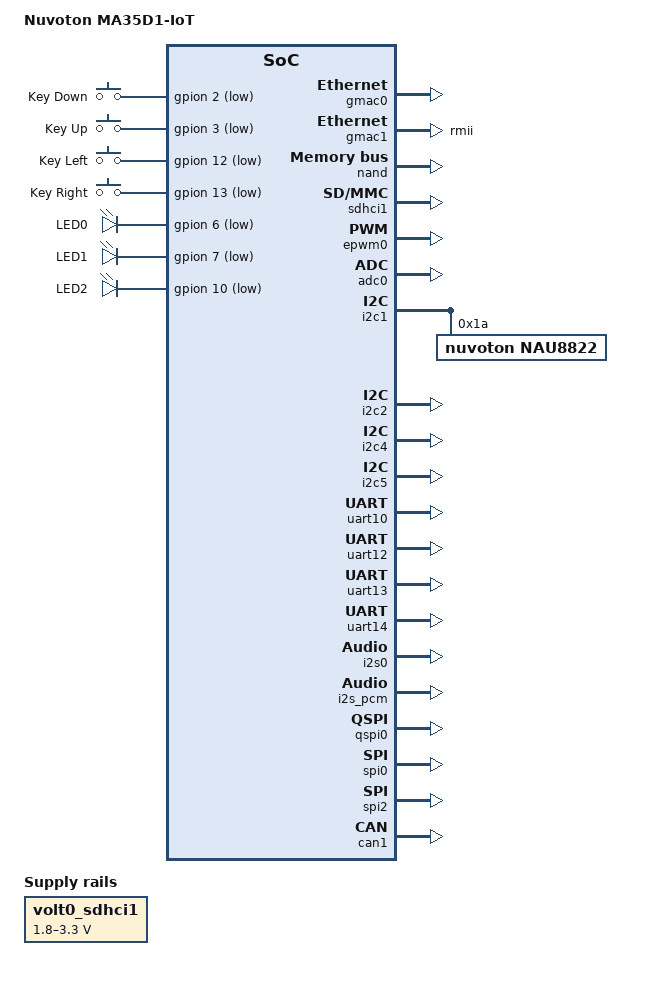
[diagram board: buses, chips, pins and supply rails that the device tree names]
/*
 * Device Tree Source for MA35D1 IoT Board
 *
 * Copyright (C) 2021 Nuvoton Technology Corp.
 *
 * The code contained herein is licensed under the GNU General Public
 * License. You may obtain a copy of the GNU General Public License
 * Version 2 or later at the following locations:
 *
 * http://www.opensource.org/licenses/gpl-license.html
 * http://www.gnu.org/copyleft/gpl.html
 */

/dts-v1/;

#include "ma35d1.dtsi"

/ {
	model = "Nuvoton MA35D1-IoT";

	chosen {
		bootargs = "root=/dev/mmcblk1p1 rootfstype=ext4 rw rootwait console=ttyS0,115200n8 rdinit=/sbin/init mem=512M";
	};

	gpio_keys_test {
		compatible = "gpio-keys";
		status = "okay";
		autorepeat;
		botton0 {
			label = "Key Down";
			linux,code = <KEY_DOWN>;
			gpios = <&gpion 2 GPIO_ACTIVE_LOW>;
			wakeup-source;
		};
		button1{
			label ="Key Up";
			linux,code = <KEY_UP>;
			gpios = <&gpion 3 GPIO_ACTIVE_LOW>;
			wakeup-source;
		};
		botton2 {
			label = "Key Left";
			linux,code = <KEY_LEFT>;
			gpios = <&gpion 12 GPIO_ACTIVE_LOW>;
			wakeup-source;
		};
		button3 {
			label ="Key Right";
			linux,code = <KEY_RIGHT>;
			gpios = <&gpion 13 GPIO_ACTIVE_LOW>;
			wakeup-source;
		};
	};

	gpio_leds_test {
		compatible = "gpio-leds";
		status = "okay";
		led0 {
			label = "LED0";
			gpios = <&gpion 6 GPIO_ACTIVE_LOW>;
		};
		led1 {
			label = "LED1";
			gpios = <&gpion 7 GPIO_ACTIVE_LOW>;
		};
		led2 {
			label = "LED2";
			gpios = <&gpion 10 GPIO_ACTIVE_LOW>;
		};
	};

	volt0_sdhci1: regulator-volt0_sdhci1 {
		compatible = "regulator-gpio";
		regulator-name = "volt1_sdhci1";
		regulator-min-microvolt = <1800000>;
		regulator-max-microvolt = <3300000>;
		gpios = <&gpion 11 GPIO_ACTIVE_HIGH>; /* PN11 */
		gpios-states = <0>;
		states = <1800000 0x1 3300000 0x0>;
		enable-active-high;
		regulator-boot-on;
	};
};

&mem {
	device_type = "memory";
	reg = <0x00000000 0x80000000 0 0x20000000>; /* DRAM space - 1, size : 512MB DRAM */
};

&ccap0 {
        status = "disabled";
	port {
		/* Parallel bus endpoint */
		ccap0_1: endpoint {
			remote-endpoint = <&hm1055_0>;
			hsync-active = <0>;     /* Active low */
			vsync-active = <0>;     /* Active low */
			pclk-sample = <1>;      /* Rising */
		};
	};
};

&i2c_gpio0 {
	status = "disabled";
	hm1055@24 {
		compatible = "himax,hm1055";
		reg = <0x24>;
		pinctrl-names = "default";
		pinctrl-0 = <&pinctrl_ccap0>;
		clocks = <&clk CCAP0_GATE>;
		clock-names = "xclk";
		reset-gpios = <&gpiom 1 GPIO_ACTIVE_LOW>; /* PM1 */
		powerdown-gpios = <&gpiok 8 GPIO_ACTIVE_HIGH>; /* PK8 */
		port {
			hm1055_0: endpoint {
				remote-endpoint = <&ccap0_1>;
			};
		};
	};
};

&gmac0 {
	status = "okay";
	pinctrl-names = "default";
	pinctrl-0 = <&pinctrl_gmac0>;
};

&gmac1 {
	status = "okay";
	phy-mode = "rmii";
	pinctrl-names = "default";
	pinctrl-0 = <&pinctrl_gmac1>;
};

&ehci0 {
	pinctrl-names = "default";
	pinctrl-0 = <&pinctrl_hsusbh>;
};

&usb {
	pinctrl-names = "default";
	pinctrl-0 = <&pinctrl_usb>;
};

&nand {
	status = "okay";
	pinctrl-names = "default";
	pinctrl-0 = <&pinctrl_nand>;
};

&sdhci1 {
	status = "okay";
	disable-wp;
	pinctrl-names = "sdhci_3V3","sdhci_1V8";
	pinctrl-0 = <&pinctrl_sdhci1_3_3V>;
	pinctrl-1 = <&pinctrl_sdhci1_1_8V>;
	vqmmc-supply = <&volt0_sdhci1>;
	power-gpios = <&gpion 14 GPIO_ACTIVE_LOW>; /* PN14 */
};

&epwm0 {
	status = "okay";
	pinctrl-names = "default";
	pinctrl-0 = <&pinctrl_epwm0>;
};

&adc0 {
	status = "okay";
	pinctrl-names = "default";
	pinctrl-0 = <&pinctrl_adc0>;
};

&i2c1 {
	status = "okay";
	pinctrl-names = "default";
	pinctrl-0 = <&pinctrl_i2c1>;

	#address-cells = <1>;
	#size-cells = <0>;
	nau8822: nau8822@1a {
		compatible = "nuvoton,nau8822";
		reg = <0x1a> ;
		nuvoton,spk-btl;
	};
};

&i2c2 {
	status = "okay";
	pinctrl-names = "default";
	pinctrl-0 = <&pinctrl_i2c2>;
};

&i2c4 {
	status = "okay";
	pinctrl-names = "default";
	pinctrl-0 = <&pinctrl_i2c4>;
};

&i2c5 {
	status = "okay";
	pinctrl-names = "default";
	pinctrl-0 = <&pinctrl_i2c5>;
};

&uart10 {
	status = "okay";
	pinctrl-names = "default";
	pinctrl-0 = <&pinctrl_uart10>;
};

&uart12 {
	status = "okay";
	pinctrl-names = "default";
	pinctrl-0 = <&pinctrl_uart12>;
};

&uart13 {
	status = "okay";
	pinctrl-names = "default";
	pinctrl-0 = <&pinctrl_uart13>;
};

&uart14 {
	status = "okay";
	pinctrl-names = "default";
	pinctrl-0 = <&pinctrl_uart14>;
};

&i2s0 {
	status = "okay";
	pinctrl-names = "default";
	pinctrl-0 = <&pinctrl_i2s0>;
	powerdown-gpios = <&gpioc 2 GPIO_ACTIVE_HIGH>; /* PC2 */
};

&i2s_pcm {
	status = "okay";
};

&sound {
	status = "okay";
};

&qspi0 {
	status = "okay";
	pinctrl-names = "default";
	pinctrl-0 = <&pinctrl_qspi0>;
};

&spi0 {
	status = "okay";
	pinctrl-names = "default";
	pinctrl-0 = <&pinctrl_spi0>;
};

&spi2 {
	status = "okay";
	pinctrl-names = "default";
	pinctrl-0 = <&pinctrl_spi2>;
};

&can1 {
	status = "okay";
	pinctrl-names = "default";
	pinctrl-0 = <&pinctrl_can1>;
};

&pinctrl {
	gmac0 {
		pinctrl_gmac0: gmac0grp{
			nuvoton,pins =
				<SYS_GPE_MFPL_PE0MFP_RGMII0_MDC		&pcfg_emac_1_8V>,
				<SYS_GPE_MFPL_PE1MFP_RGMII0_MDIO	&pcfg_emac_1_8V>,
				<SYS_GPE_MFPL_PE2MFP_RGMII0_TXCTL	&pcfg_emac_1_8V>,
				<SYS_GPE_MFPL_PE3MFP_RGMII0_TXD0	&pcfg_emac_1_8V>,
				<SYS_GPE_MFPL_PE4MFP_RGMII0_TXD1	&pcfg_emac_1_8V>,
				<SYS_GPE_MFPL_PE5MFP_RGMII0_RXCLK	&pcfg_emac_1_8V>,
				<SYS_GPE_MFPL_PE6MFP_RGMII0_RXCTL	&pcfg_emac_1_8V>,
				<SYS_GPE_MFPL_PE7MFP_RGMII0_RXD0	&pcfg_emac_1_8V>,
				<SYS_GPE_MFPH_PE8MFP_RGMII0_RXD1	&pcfg_emac_1_8V>,
				<SYS_GPE_MFPH_PE9MFP_RGMII0_RXD2	&pcfg_emac_1_8V>,
				<SYS_GPE_MFPH_PE10MFP_RGMII0_RXD3	&pcfg_emac_1_8V>,
				<SYS_GPE_MFPH_PE11MFP_RGMII0_TXCLK	&pcfg_emac_1_8V>,
				<SYS_GPE_MFPH_PE12MFP_RGMII0_TXD2	&pcfg_emac_1_8V>,
				<SYS_GPE_MFPH_PE13MFP_RGMII0_TXD3	&pcfg_emac_1_8V>;
		};
	};

	gmac1 {
		pinctrl_gmac1: gmac1grp{
			nuvoton,pins =
				<SYS_GPF_MFPL_PF0MFP_RMII1_MDC		&pcfg_emac_3_3V>,
				<SYS_GPF_MFPL_PF1MFP_RMII1_MDIO		&pcfg_emac_3_3V>,
				<SYS_GPF_MFPL_PF2MFP_RMII1_TXEN		&pcfg_emac_3_3V>,
				<SYS_GPF_MFPL_PF3MFP_RMII1_TXD0		&pcfg_emac_3_3V>,
				<SYS_GPF_MFPL_PF4MFP_RMII1_TXD1		&pcfg_emac_3_3V>,
				<SYS_GPF_MFPL_PF5MFP_RMII1_REFCLK	&pcfg_emac_3_3V>,
				<SYS_GPF_MFPL_PF6MFP_RMII1_CRSDV	&pcfg_emac_3_3V>,
				<SYS_GPF_MFPL_PF7MFP_RMII1_RXD0		&pcfg_emac_3_3V>,
				<SYS_GPF_MFPH_PF8MFP_RMII1_RXD1		&pcfg_emac_3_3V>,
				<SYS_GPF_MFPH_PF9MFP_RMII1_RXERR	&pcfg_emac_3_3V>;
		};
	};

	hsusbh {
		pinctrl_hsusbh: hsusbhgrp{
			nuvoton,pins =
				<SYS_GPL_MFPH_PL12MFP_HSUSBH_PWREN	&pcfg_default>,
				<SYS_GPL_MFPH_PL13MFP_HSUSBH_OVC	&pcfg_default>;
		};
	};

	adc0 {
		pinctrl_adc0: adc0grp {
			nuvoton,pins =
				<SYS_GPB_MFPH_PB10MFP_ADC0_CH2	&pcfg_default>,
				<SYS_GPB_MFPH_PB11MFP_ADC0_CH3	&pcfg_default>,
				<SYS_GPB_MFPH_PB12MFP_ADC0_CH4	&pcfg_default>,
				<SYS_GPB_MFPH_PB13MFP_ADC0_CH5	&pcfg_default>,
				<SYS_GPB_MFPH_PB14MFP_ADC0_CH6	&pcfg_default>,
				<SYS_GPB_MFPH_PB15MFP_ADC0_CH7	&pcfg_default>;
		};
	};

	epwm0 {
		pinctrl_epwm0: epwm0grp{
			nuvoton,pins =
				<SYS_GPD_MFPL_PD7MFP_EPWM0_CH1	&pcfg_default>;
		};
	};

	i2c1 {
		pinctrl_i2c1: i2c1grp{
			nuvoton,pins =
				<SYS_GPN_MFPL_PN4MFP_I2C1_SDA	&pcfg_default>,
				<SYS_GPN_MFPL_PN5MFP_I2C1_SCL	&pcfg_default>;
		};
	};


	i2c2 {
		pinctrl_i2c2: i2c2grp{
			nuvoton,pins =
				<SYS_GPN_MFPL_PN0MFP_I2C2_SDA   &pcfg_default>,
				<SYS_GPN_MFPL_PN1MFP_I2C2_SCL    &pcfg_default>;
		};
	};


	i2c4 {
		pinctrl_i2c4: i2c4grp{
			nuvoton,pins =
				<SYS_GPC_MFPL_PC0MFP_I2C4_SDA	&pcfg_default>,
				<SYS_GPC_MFPL_PC1MFP_I2C4_SCL	&pcfg_default>;
		};
	};

	i2c5 {
		pinctrl_i2c5: i2c5grp{
			nuvoton,pins =
				<SYS_GPC_MFPL_PC4MFP_I2C5_SDA	&pcfg_default>,
				<SYS_GPC_MFPL_PC5MFP_I2C5_SCL	&pcfg_default>;
		};
	};

	uart10 {
		pinctrl_uart10: uart10grp{
			nuvoton,pins =
				<SYS_GPH_MFPL_PH4MFP_UART10_nCTS	&pcfg_default>,
				<SYS_GPH_MFPL_PH5MFP_UART10_nRTS	&pcfg_default>,
				<SYS_GPH_MFPL_PH6MFP_UART10_RXD	&pcfg_default>,
				<SYS_GPH_MFPL_PH7MFP_UART10_TXD	&pcfg_default>;
		};
	};

	uart12 {
		pinctrl_uart12: uart12grp{
			nuvoton,pins =
				<SYS_GPC_MFPH_PC13MFP_UART12_nRTS	&pcfg_default>,
				<SYS_GPC_MFPH_PC14MFP_UART12_RXD	&pcfg_default>,
				<SYS_GPC_MFPH_PC15MFP_UART12_TXD	&pcfg_default>;
		};
	};

	uart13 {
		pinctrl_uart13: uart13grp{
			nuvoton,pins =
				<SYS_GPH_MFPH_PH12MFP_UART13_RXD	&pcfg_default>,
				<SYS_GPH_MFPH_PH13MFP_UART13_TXD	&pcfg_default>;
		};
	};

	uart14 {
		pinctrl_uart14: uart14grp{
			nuvoton,pins =
				<SYS_GPH_MFPH_PH14MFP_UART14_RXD	&pcfg_default>,
				<SYS_GPH_MFPH_PH15MFP_UART14_TXD	&pcfg_default>;
		};
	};

	i2s0 {
		pinctrl_i2s0: i2s0grp{
			nuvoton,pins =
				<SYS_GPG_MFPH_PG11MFP_I2S0_MCLK	&pcfg_default>,
				<SYS_GPG_MFPH_PG12MFP_I2S0_LRCK	&pcfg_default>,
				<SYS_GPG_MFPH_PG13MFP_I2S0_BCLK	&pcfg_default>,
				<SYS_GPG_MFPH_PG14MFP_I2S0_DI	&pcfg_default>,
				<SYS_GPG_MFPH_PG15MFP_I2S0_DO	&pcfg_default>;
		};
	};

	qspi0 {
		pinctrl_qspi0: qspi0grp{
			nuvoton,pins =
				<SYS_GPD_MFPL_PD0MFP_QSPI0_SS0		&pcfg_default>,
				<SYS_GPD_MFPL_PD1MFP_QSPI0_CLK		&pcfg_default>,
				<SYS_GPD_MFPL_PD2MFP_QSPI0_MOSI0	&pcfg_default>,
				<SYS_GPD_MFPL_PD3MFP_QSPI0_MISO0	&pcfg_default>,
				<SYS_GPD_MFPL_PD4MFP_QSPI0_MOSI1	&pcfg_default>,
				<SYS_GPD_MFPL_PD5MFP_QSPI0_MISO1	&pcfg_default>;
		};
	};

	spi0 {
		pinctrl_spi0: spi0grp{
			nuvoton,pins =
				<SYS_GPG_MFPL_PG0MFP_SPI0_SS0    &pcfg_default>,
				<SYS_GPB_MFPH_PB8MFP_SPI0_SS1    &pcfg_default>,
				<SYS_GPB_MFPH_PB9MFP_SPI0_CLK    &pcfg_default>,
				<SYS_GPL_MFPH_PL14MFP_SPI0_MOSI    &pcfg_default>,
				<SYS_GPL_MFPH_PL15MFP_SPI0_MISO    &pcfg_default>;
		};
	};

	spi2 {
		pinctrl_spi2: spi2grp{
			nuvoton,pins =
				<SYS_GPG_MFPH_PG8MFP_SPI2_SS0	&pcfg_default>,
				<SYS_GPG_MFPH_PG9MFP_SPI2_CLK	&pcfg_default>,
				<SYS_GPG_MFPH_PG10MFP_SPI2_MOSI	&pcfg_default>,
				<SYS_GPK_MFPL_PK4MFP_SPI2_MISO	&pcfg_default>;
		};
	};

	can1 {
		pinctrl_can1: can1grp{
			nuvoton,pins =
				<SYS_GPC_MFPL_PC6MFP_CAN1_RXD	&pcfg_default>,
				<SYS_GPC_MFPL_PC7MFP_CAN1_TXD	&pcfg_default>;
		};
	};

	usb {
		pinctrl_usb: usbgrp{
			nuvoton,pins =
				<SYS_GPF_MFPH_PF15MFP_HSUSB0_VBUSVLD	&pcfg_default>;
		};
	};

	nand {
		pinctrl_nand: nandgrp{
			nuvoton,pins =
				<SYS_GPA_MFPL_PA0MFP_NAND_DATA0	&pcfg_default>,
				<SYS_GPA_MFPL_PA1MFP_NAND_DATA1	&pcfg_default>,
				<SYS_GPA_MFPL_PA2MFP_NAND_DATA2	&pcfg_default>,
				<SYS_GPA_MFPL_PA3MFP_NAND_DATA3	&pcfg_default>,
				<SYS_GPA_MFPL_PA4MFP_NAND_DATA4	&pcfg_default>,
				<SYS_GPA_MFPL_PA5MFP_NAND_DATA5	&pcfg_default>,
				<SYS_GPA_MFPL_PA6MFP_NAND_DATA6	&pcfg_default>,
				<SYS_GPA_MFPL_PA7MFP_NAND_DATA7	&pcfg_default>,
				<SYS_GPA_MFPH_PA8MFP_NAND_RDY	&pcfg_default>,
				<SYS_GPA_MFPH_PA9MFP_NAND_nRE	&pcfg_default>,
				<SYS_GPA_MFPH_PA10MFP_NAND_nWE	&pcfg_default>,
				<SYS_GPA_MFPH_PA11MFP_NAND_CLE	&pcfg_default>,
				<SYS_GPA_MFPH_PA12MFP_NAND_ALE	&pcfg_default>,
				<SYS_GPA_MFPH_PA13MFP_NAND_nCS	&pcfg_default>,
				<SYS_GPA_MFPH_PA14MFP_NAND_nWP	&pcfg_default>;
		};
	};

	sdhci1 {
		pinctrl_sdhci1_3_3V: sdhci1_3_3Vgrp{
			nuvoton,pins =
				<SYS_GPJ_MFPL_PJ5MFP_SD1_nCD	&pcfg_default>,
				<SYS_GPJ_MFPL_PJ6MFP_SD1_CMD	&pcfg_sdhci_drive2_3_3V>,
				<SYS_GPJ_MFPL_PJ7MFP_SD1_CLK	&pcfg_sdhci_drive2_3_3V>,
				<SYS_GPJ_MFPH_PJ8MFP_SD1_DAT0	&pcfg_sdhci_drive2_3_3V>,
				<SYS_GPJ_MFPH_PJ9MFP_SD1_DAT1	&pcfg_sdhci_drive2_3_3V>,
				<SYS_GPJ_MFPH_PJ10MFP_SD1_DAT2	&pcfg_sdhci_drive2_3_3V>,
				<SYS_GPJ_MFPH_PJ11MFP_SD1_DAT3	&pcfg_sdhci_drive2_3_3V>;
		};

		pinctrl_sdhci1_1_8V: sdhci1_1_8Vgrp{
			nuvoton,pins =
				<SYS_GPJ_MFPL_PJ5MFP_SD1_nCD	&pcfg_default>,
				<SYS_GPJ_MFPL_PJ6MFP_SD1_CMD	&pcfg_sdhci_drive4_1_8V>,
				<SYS_GPJ_MFPL_PJ7MFP_SD1_CLK	&pcfg_sdhci_drive7_1_8V>,
				<SYS_GPJ_MFPH_PJ8MFP_SD1_DAT0	&pcfg_sdhci_drive1_1_8V>,
				<SYS_GPJ_MFPH_PJ9MFP_SD1_DAT1	&pcfg_sdhci_drive1_1_8V>,
				<SYS_GPJ_MFPH_PJ10MFP_SD1_DAT2	&pcfg_sdhci_drive1_1_8V>,
				<SYS_GPJ_MFPH_PJ11MFP_SD1_DAT3	&pcfg_sdhci_drive1_1_8V>;
		};
	};

	ccap0 {
		pinctrl_ccap0: ccap0grp{
			nuvoton,pins =
				<SYS_GPK_MFPH_PK9MFP_CCAP0_SCLK		&pcfg_default>,
				<SYS_GPK_MFPH_PK10MFP_CCAP0_PIXCLK	&pcfg_default>,
				<SYS_GPK_MFPH_PK11MFP_CCAP0_HSYNC	&pcfg_default>,
				<SYS_GPM_MFPL_PM0MFP_CCAP0_VSYNC	&pcfg_default>,
				<SYS_GPM_MFPL_PM2MFP_CCAP0_DATA0	&pcfg_default>,
				<SYS_GPM_MFPL_PM3MFP_CCAP0_DATA1	&pcfg_default>,
				<SYS_GPM_MFPL_PM4MFP_CCAP0_DATA2	&pcfg_default>,
				<SYS_GPM_MFPL_PM5MFP_CCAP0_DATA3	&pcfg_default>,
				<SYS_GPM_MFPL_PM6MFP_CCAP0_DATA4	&pcfg_default>,
				<SYS_GPM_MFPL_PM7MFP_CCAP0_DATA5	&pcfg_default>,
				<SYS_GPM_MFPH_PM8MFP_CCAP0_DATA6	&pcfg_default>,
				<SYS_GPM_MFPH_PM9MFP_CCAP0_DATA7	&pcfg_default>;
		};
	};
};
